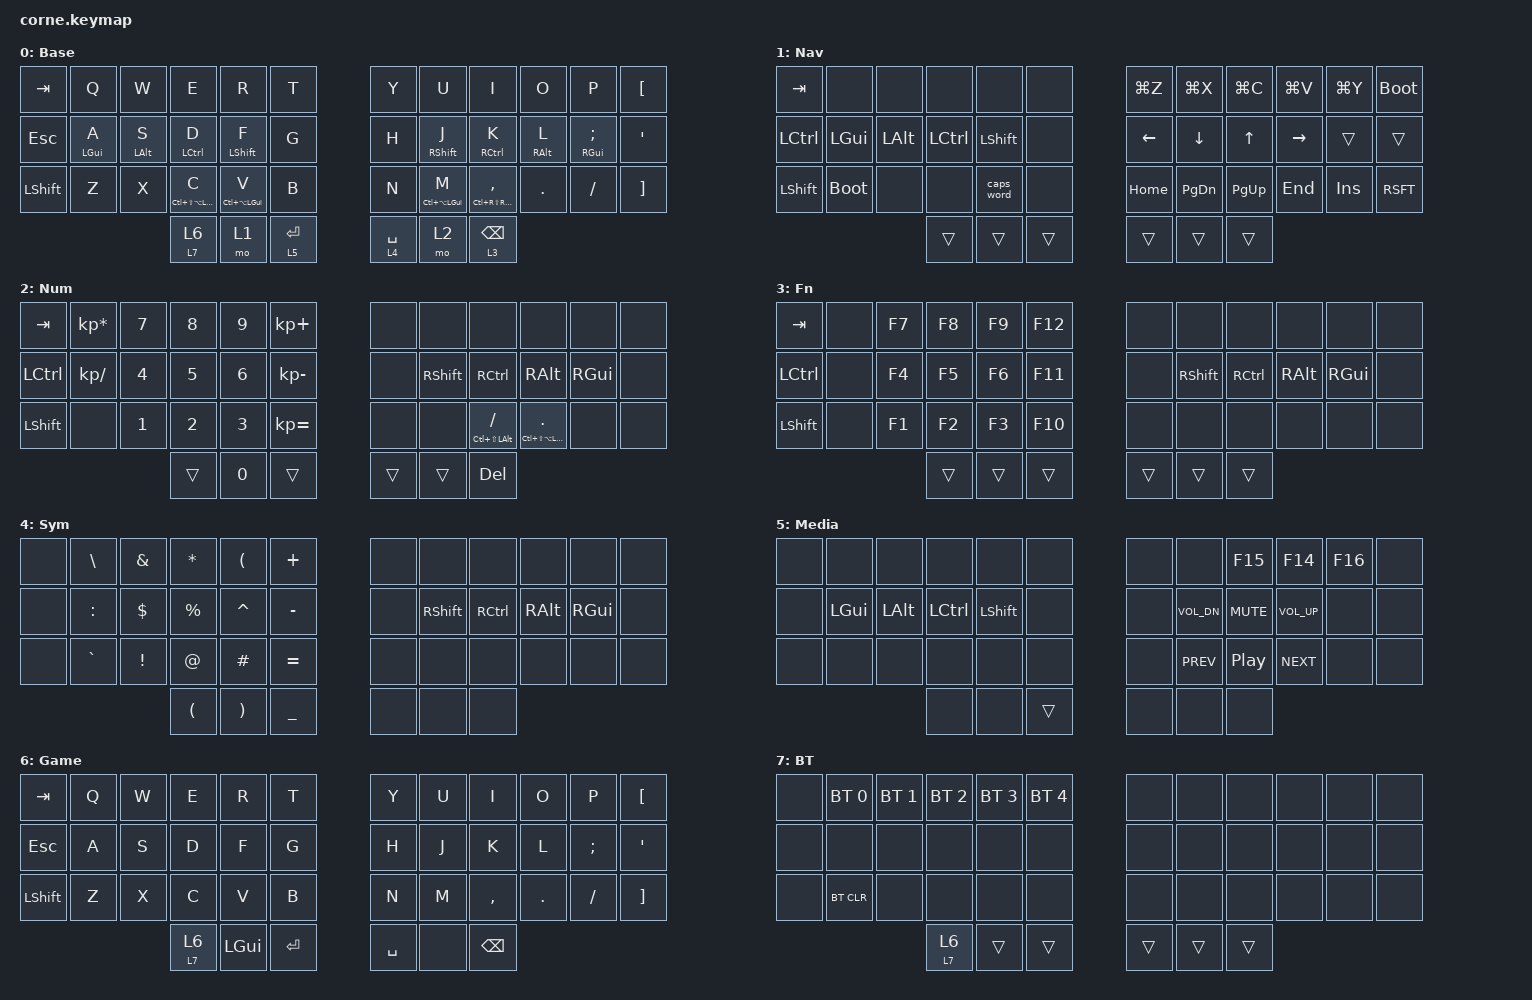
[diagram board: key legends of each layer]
/*
 * Copyright (c) 2020 The ZMK Contributors
 *
 * SPDX-License-Identifier: MIT
 */

#include <behaviors.dtsi>
#include <dt-bindings/zmk/keys.h>
#include <dt-bindings/zmk/bt.h>

// Modifier shortcuts
#define HYPR LC(LS(LA(LGUI)))
#define RHYPR LC(RS(RA(RGUI)))
#define CAG LC(LA(LGUI))
#define MEH LC(LS(LALT))

/ {
        behaviors {
                hml: homerow_mods_left {
                        compatible = "zmk,behavior-hold-tap";
                        #binding-cells = <2>;
                        tapping-term-ms = <200>;
                        quick-tap-ms = <175>;
                        flavor = "balanced";
                        bindings = <&kp>, <&kp>;
                        hold-trigger-key-positions = <6 7 8 9 10 11 18 19 20 21 22 23 30 31 32 33 34 35 39 40 41>;
                };

                hmr: homerow_mods_right {
                        compatible = "zmk,behavior-hold-tap";
                        #binding-cells = <2>;
                        tapping-term-ms = <200>;
                        quick-tap-ms = <175>;
                        flavor = "balanced";
                        bindings = <&kp>, <&kp>;
                        hold-trigger-key-positions = <0 1 2 3 4 5 12 13 14 15 16 17 24 25 26 27 28 29 36 37 38 39 40>;
                };

                ltp: layer_tap_preferred {
                        compatible = "zmk,behavior-hold-tap";
                        #binding-cells = <2>;
                        tapping-term-ms = <200>;
                        quick-tap-ms = <175>;
                        flavor = "tap-preferred";
                        bindings = <&mo>, <&kp>;
                };

                ltpt: layer_tap_preferred_toggle {
                        compatible = "zmk,behavior-hold-tap";
                        #binding-cells = <2>;
                        tapping-term-ms = <200>;
                        quick-tap-ms = <175>;
                        flavor = "tap-preferred";
                        bindings = <&tog>, <&kp>;
                };

                td_layer: tap_dance_layer {
                        compatible = "zmk,behavior-hold-tap";
                        #binding-cells = <2>;
                        tapping-term-ms = <200>;
                        quick-tap-ms = <175>;
                        flavor = "tap-preferred";
                        bindings = <&mo>, <&tog>;
                };
        };

        keymap {
                compatible = "zmk,keymap";

                default_layer {
                        display-name = "Base";
// -----------------------------------------------------------------------------------------
// | TAB  |  Q  |  W  |  E  |  R  |  T  |   |  Y  |  U  |  I  |  O  |  P  | [   |
// | ESC  |GUI/A|ALT/S|CTL/D|SFT/F|  G  |   |  H  |SFT/J|CTL/K|ALT/L|GUI/;| '   |
// | SHFT |  Z  |  X  |HYPR/C|MEH/V| B  |   |  N  |MEH/M|HYPR/,|  . |  /  | ]   |
//                    | TT6 | MO1 |LT5/ENT|  |LT4/SPC|MO2|LT3/BSPC|
                        bindings = <
   &kp TAB   &kp Q        &kp W        &kp E          &kp R          &kp T       &kp Y         &kp U          &kp I             &kp O         &kp P          &kp LBKT
   &kp ESC   &hml LGUI A  &hml LALT S  &hml LCTRL D   &hml LSHFT F   &kp G       &kp H         &hmr RSHFT J   &hmr RCTRL K      &hmr RALT L   &hmr RGUI SEMI &kp SQT
   &kp LSHFT &kp Z        &kp X        &hml HYPR C    &hml CAG V     &kp B       &kp N         &hmr CAG M     &hmr RHYPR COMMA  &kp DOT       &kp FSLH       &kp RBKT
                                       &td_layer 7 6  &mo 1          &ltp 5 RET  &ltp 4 SPACE  &mo 2          &ltp 3 BSPC
                        >;
                };

                layer_1 {
                        display-name = "Nav";
// -----------------------------------------------------------------------------------------
// | TAB  |     |     |     |     |     |   | UNDO| CUT |COPY |PASTE| REDO|     |
// | CTRL | GUI | ALT | CTL | SFT |     |   | LEFT| DOWN|  UP |RIGHT|     |     |
// | SHFT |RESET|     |     |     |     |   | HOME|PGDN|PGUP | END | INS | RSFT|
//                    |     |     |     |   |     |     |     |
                        bindings = <
   &kp TAB   &none       &none      &none       &none       &none    &kp LG(Z)  &kp LG(X)  &kp LG(C)  &kp LG(V)  &kp LG(Y)  &bootloader
   &kp LCTRL &kp LGUI    &kp LALT   &kp LCTRL   &kp LSHFT   &none    &kp LEFT   &kp DOWN   &kp UP     &kp RIGHT  &trans     &trans
   &kp LSHFT &bootloader &none      &none       &caps_word  &none    &kp HOME   &kp PG_DN  &kp PG_UP  &kp END    &kp INS    &kp RSFT
                                    &trans      &trans      &trans   &trans     &trans     &trans
                        >;
                };

                layer_2 {
                        display-name = "Num";
// -----------------------------------------------------------------------------------------
// | TAB  |  *  |  7  |  8  |  9  |  +  |   |     |     |     |     |     |     |
// | CTRL |  /  |  4  |  5  |  6  |  -  |   |     |RSFT |RCTL |RALT |RGUI |     |
// | SHFT |     |  1  |  2  |  3  |  =  |   |     |     |HYPR/|MEH/ |     |     |
//                    |     |  0  |     |   |     |     | DEL |
                        bindings = <
   &kp TAB   &kp KP_MULTIPLY &kp N7  &kp N8  &kp N9  &kp KP_PLUS   &none   &none      &none          &none         &none      &none
   &kp LCTRL &kp KP_DIVIDE   &kp N4  &kp N5  &kp N6  &kp KP_MINUS  &none   &kp RSHFT  &kp RCTRL      &kp RALT      &kp RGUI   &none
   &kp LSHFT &none           &kp N1  &kp N2  &kp N3  &kp KP_EQUAL  &none   &none      &hml MEH FSLH  &hml HYPR DOT &none      &none
                                     &trans  &kp N0  &trans        &trans  &trans     &kp DEL
                        >;
                };

                layer_3 {
                        display-name = "Fn";
// -----------------------------------------------------------------------------------------
// | TAB  |     | F7  | F8  | F9  | F12 |   |     |     |     |     |     |     |
// | CTRL |     | F4  | F5  | F6  | F11 |   |     |RSFT |RCTL |RALT |RGUI |     |
// | SHFT |     | F1  | F2  | F3  | F10 |   |     |     |     |     |     |     |
//                    |     |     |     |   |     |     |     |
                        bindings = <
   &kp TAB   &none  &kp F7  &kp F8  &kp F9  &kp F12   &none  &none      &none      &none     &none      &none
   &kp LCTRL &none  &kp F4  &kp F5  &kp F6  &kp F11   &none  &kp RSHFT  &kp RCTRL  &kp RALT  &kp RGUI   &none
   &kp LSHFT &none  &kp F1  &kp F2  &kp F3  &kp F10   &none  &none      &none      &none     &none      &none
                            &trans  &trans  &trans    &trans &trans     &trans
                        >;
                };

                layer_4 {
                        display-name = "Sym";
// -----------------------------------------------------------------------------------------
// |      |  \  |  &  |  *  |  (  |  +  |   |     |     |     |     |     |     |
// |      |  :  |  $  |  %  |  ^  |  -  |   |     |RSFT |RCTL |RALT |RGUI |     |
// |      |  `  |  !  |  @  |  #  |  =  |   |     |     |     |     |     |     |
//                    |  (  |  )  |  _  |   |     |     |     |
                        bindings = <
   &none  &kp BSLH   &kp AMPS  &kp ASTRK  &kp LPAR   &kp PLUS    &none  &none      &none      &none     &none      &none
   &none  &kp COLON  &kp DLLR  &kp PRCNT  &kp CARET  &kp MINUS   &none  &kp RSHFT  &kp RCTRL  &kp RALT  &kp RGUI   &none
   &none  &kp GRAVE  &kp EXCL  &kp AT     &kp HASH   &kp EQUAL   &none  &none      &none      &none     &none      &none
                               &kp LPAR   &kp RPAR   &kp UNDER   &none  &none      &none
                        >;
                };

                layer_5 {
                        display-name = "Media";
// -----------------------------------------------------------------------------------------
// |      |     |     |     |     |     |   |     |     | F15 | F14 | F16 |     |
// |      | GUI | ALT | CTL | SFT |     |   |     | VOLD| MUTE| VOLU|     |     |
// |      |     |     |     |     |     |   |     | PREV| PLAY| NEXT|     |     |
//                    |     |     |     |   |     |     |     |
                        bindings = <
   &none  &none     &none     &none      &none      &none    &none  &none         &kp F15     &kp F14       &kp F16  &none
   &none  &kp LGUI  &kp LALT  &kp LCTRL  &kp LSHFT  &none    &none  &kp C_VOL_DN  &kp C_MUTE  &kp C_VOL_UP  &none    &none
   &none  &none     &none     &none      &none      &none    &none  &kp C_PREV    &kp C_PP    &kp C_NEXT    &none    &none
                              &none      &none      &trans   &none  &none         &none
                        >;
                };

                layer_6 {
                        display-name = "Game";
// -----------------------------------------------------------------------------------------
// | TAB  |  Q  |  W  |  E  |  R  |  T  |   |  Y  |  U  |  I  |  O  |  P  | [   |
// | ESC  |  A  |  S  |  D  |  F  |  G  |   |  H  |  J  |  K  |  L  |  ;  | '   |
// | SHFT |  Z  |  X  |  C  |  V  |  B  |   |  N  |  M  |  ,  |  .  |  /  | ]   |
//                    | TT6 | GUI | ENT |   | SPC |     |BSPC |
                        bindings = <
   &kp TAB   &kp Q  &kp W  &kp E          &kp R     &kp T      &kp Y      &kp U   &kp I      &kp O    &kp P     &kp LBKT
   &kp ESC   &kp A  &kp S  &kp D          &kp F     &kp G      &kp H      &kp J   &kp K      &kp L    &kp SEMI  &kp SQT
   &kp LSHFT &kp Z  &kp X  &kp C          &kp V     &kp B      &kp N      &kp M   &kp COMMA  &kp DOT  &kp FSLH  &kp RBKT
                           &td_layer 7 6  &kp LGUI  &kp RET    &kp SPACE  &none   &kp BSPC
                        >;
                };

                layer_7 {
                        display-name = "BT";
// -----------------------------------------------------------------------------------------
// |      |BT0  |BT1  |BT2  |BT3  |BT4  |   |     |     |     |     |     |     |
// |      |     |     |     |     |     |   |     |     |     |     |     |     |
// |      |BTCLR|     |     |     |     |   |     |     |     |     |     |     |
//                    |TD_L |     |     |   |     |     |     |
                        bindings = <
   &none  &bt BT_SEL 0  &bt BT_SEL 1  &bt BT_SEL 2   &bt BT_SEL 3  &bt BT_SEL 4   &none  &none  &none  &none  &none  &none
   &none  &none         &none         &none          &none         &none          &none  &none  &none  &none  &none  &none
   &none  &bt BT_CLR    &none         &none          &none         &none          &none  &none  &none  &none  &none  &none
                                      &td_layer 7 6  &trans        &trans         &trans &trans &trans
                        >;
                };

        };
};
